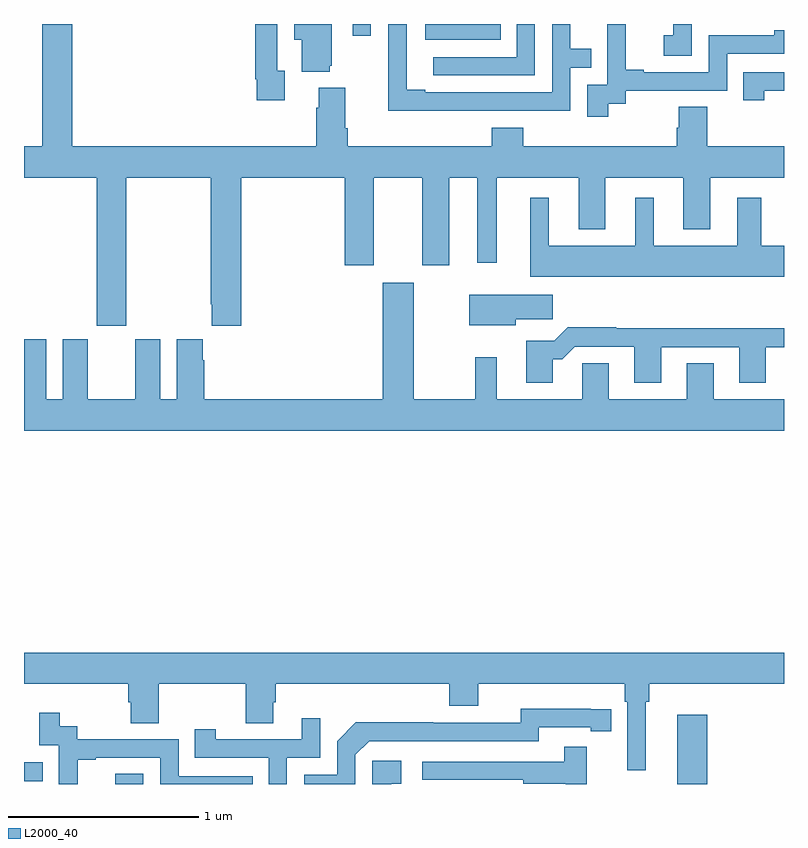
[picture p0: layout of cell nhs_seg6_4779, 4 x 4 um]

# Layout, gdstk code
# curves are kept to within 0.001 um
import gdstk
lib = gdstk.Library(unit=1e-6, precision=1e-09)
def R(c, l, rs):  # rectangles x0, y0, x1, y1
    for r in rs: c.add(gdstk.rectangle(r[:2], r[2:], *l))
def P(c, l, *ps):  # polygons
    for p in ps: c.add(gdstk.Polygon(p, *l))
L2000_40 = (2000, 40)

nhs_seg6_4779 = lib.new_cell('nhs_seg6_4779')
R(nhs_seg6_4779, L2000_40, [(395.481,921.5,395.628,921.553), (398.438,921.5,398.597,921.865), (395,921.514,395.099,921.615), (397.112,925.418,397.508,925.5), (396.729,925.437,396.825,925.5)])
P(nhs_seg6_4779, L2000_40, [(398.074,925.081),(398.166,925.081),(398.166,925.149),(398.7,925.149),(398.7,925.344),(399,925.344),(399,925.467),(398.949,925.467),(398.949,925.44),(398.604,925.44),(398.604,925.245),(398.263,925.245),(398.263,925.258),(398.168,925.258),(398.168,925.5),(398.069,925.5),(398.069,925.409),(398.07,925.409),(398.07,925.179),(397.965,925.179),(397.965,925.011),(398.074,925.011)],
  [(396.608,925.281),(396.619,925.281),(396.619,925.5),(396.422,925.5),(396.422,925.418),(396.461,925.418),(396.461,925.25),(396.608,925.25)],
  [(396.373,925.254),(396.333,925.254),(396.333,925.5),(396.217,925.5),(396.217,925.21),(396.225,925.21),(396.225,925.098),(396.373,925.098)],
  [(398.514,925.5),(398.416,925.5),(398.416,925.441),(398.367,925.441),(398.367,925.332),(398.514,925.332)],
  [(397.379,925.044),(397.875,925.044),(397.875,925.269),(397.985,925.269),(397.985,925.37),(397.875,925.37),(397.875,925.5),(397.779,925.5),(397.779,925.14),(397.111,925.14),(397.111,925.153),(397.014,925.153),(397.014,925.5),(396.918,925.5),(396.918,925.349),(396.916,925.349),(396.916,925.043),(397.379,925.043)],
  [(397.689,925.5),(397.593,925.5),(397.593,925.326),(397.155,925.326),(397.155,925.23),(397.689,925.23)],
  [(395.538,924.692),(395.983,924.692),(395.983,924.025),(395.987,924.025),(395.987,923.913),(396.143,923.913),(396.143,924.692),(396.689,924.692),(396.689,924.231),(396.841,924.231),(396.841,924.692),(397.097,924.692),(397.097,924.231),(397.237,924.231),(397.237,924.692),(397.385,924.692),(397.385,924.243),(397.489,924.243),(397.489,924.692),(397.919,924.692),(397.919,924.419),(398.059,924.419),(398.059,924.692),(398.471,924.692),(398.471,924.419),(398.611,924.419),(398.611,924.692),(399,924.692),(399,924.856),(398.595,924.856),(398.595,925.064),(398.447,925.064),(398.447,924.954),(398.435,924.954),(398.435,924.856),(397.628,924.856),(397.628,924.955),(397.463,924.955),(397.463,924.856),(396.704,924.856),(396.704,924.952),(396.691,924.952),(396.691,925.165),(396.551,925.165),(396.551,925.058),(396.539,925.058),(396.539,924.856),(395.255,924.856),(395.255,925.5),(395.095,925.5),(395.095,924.856),(395,924.856),(395,924.692),(395.383,924.692),(395.383,923.913),(395.538,923.913)],
  [(398.896,925.149),(399,925.149),(399,925.245),(398.785,925.245),(398.785,925.098),(398.896,925.098)],
  [(399,924.334),(398.881,924.334),(398.881,924.586),(398.753,924.586),(398.753,924.334),(398.314,924.334),(398.314,924.586),(398.216,924.586),(398.216,924.334),(397.762,924.334),(397.762,924.586),(397.664,924.586),(397.664,924.17),(399,924.17)],
  [(399,923.524),(398.629,923.524),(398.629,923.714),(398.489,923.714),(398.489,923.524),(398.077,923.524),(398.077,923.714),(397.938,923.714),(397.938,923.524),(397.489,923.524),(397.489,923.746),(397.375,923.746),(397.375,923.524),(397.051,923.524),(397.051,924.139),(396.887,924.139),(396.887,923.524),(395.948,923.524),(395.948,923.729),(395.941,923.729),(395.941,923.842),(395.804,923.842),(395.804,923.524),(395.716,923.524),(395.716,923.842),(395.585,923.842),(395.585,923.524),(395.335,923.524),(395.335,923.842),(395.204,923.842),(395.204,923.524),(395.116,923.524),(395.116,923.842),(395,923.842),(395,923.36),(399,923.36)],
  [(397.588,923.947),(397.783,923.947),(397.783,924.076),(397.344,924.076),(397.344,923.915),(397.588,923.915)],
  [(397.783,923.735),(397.832,923.735),(397.899,923.802),(398.213,923.802),(398.213,923.613),(398.353,923.613),(398.353,923.799),(398.765,923.799),(398.765,923.613),(398.905,923.613),(398.905,923.799),(399,923.799),(399,923.9),(398.117,923.9),(398.117,923.903),(397.862,923.903),(397.792,923.833),(397.643,923.833),(397.643,923.613),(397.783,923.613)],
  [(398.272,921.932),(398.291,921.932),(398.291,922.028),(399,922.028),(399,922.192),(395,922.192),(395,922.028),(395.549,922.028),(395.549,921.93),(395.561,921.93),(395.561,921.82),(395.709,921.82),(395.709,922.028),(396.166,922.028),(396.166,921.82),(396.313,921.82),(396.313,921.93),(396.326,921.93),(396.326,922.028),(397.238,922.028),(397.238,921.911),(397.39,921.911),(397.39,922.028),(398.162,922.028),(398.162,921.932),(398.175,921.932),(398.175,921.573),(398.272,921.573)],
  [(396.744,921.654),(396.816,921.726),(397.71,921.726),(397.71,921.798),(397.982,921.798),(397.982,921.778),(398.09,921.778),(398.09,921.894),(397.614,921.895),(397.614,921.822),(397.154,921.822),(397.154,921.824),(396.746,921.824),(396.648,921.726),(396.648,921.549),(396.474,921.549),(396.474,921.5),(396.744,921.5)],
  [(395.282,921.627),(395.377,921.627),(395.377,921.639),(395.718,921.639),(395.718,921.5),(396.203,921.5),(396.203,921.54),(395.814,921.54),(395.814,921.735),(395.28,921.735),(395.28,921.804),(395.188,921.804),(395.188,921.874),(395.079,921.874),(395.079,921.705),(395.184,921.705),(395.184,921.5),(395.282,921.5)],
  [(396.384,921.639),(396.558,921.639),(396.558,921.847),(396.461,921.847),(396.461,921.735),(396.01,921.735),(396.01,921.787),(395.899,921.787),(395.899,921.639),(396.288,921.639),(396.288,921.5),(396.384,921.5)],
  [(397.961,921.697),(397.843,921.697),(397.843,921.618),(397.095,921.618),(397.095,921.522),(397.627,921.522),(397.627,921.502),(397.851,921.502),(397.851,921.5),(397.961,921.5)],
  [(396.932,921.501),(396.985,921.501),(396.985,921.622),(396.834,921.622),(396.834,921.5),(396.932,921.5)])

lib.write_gds('nhs_seg6_4779.gds')
